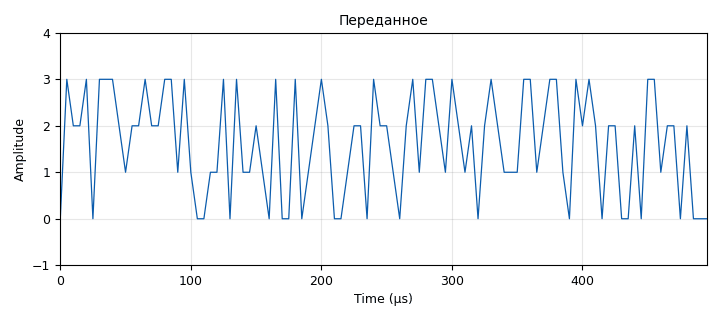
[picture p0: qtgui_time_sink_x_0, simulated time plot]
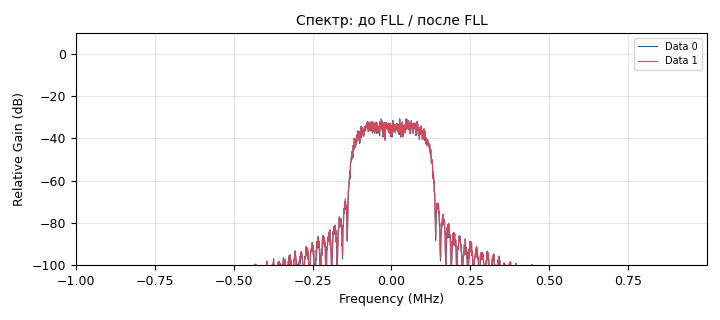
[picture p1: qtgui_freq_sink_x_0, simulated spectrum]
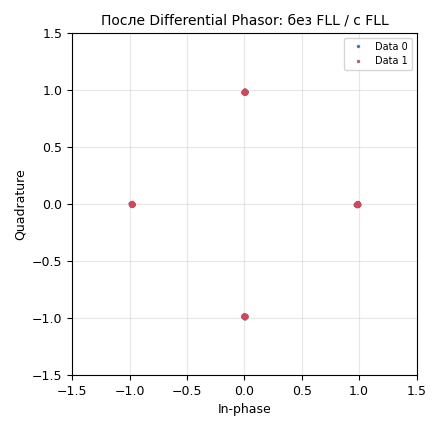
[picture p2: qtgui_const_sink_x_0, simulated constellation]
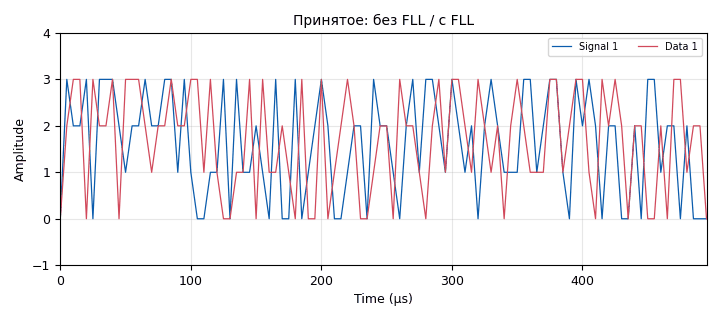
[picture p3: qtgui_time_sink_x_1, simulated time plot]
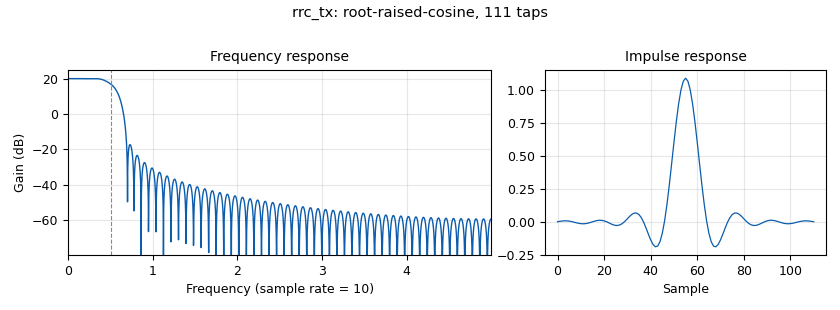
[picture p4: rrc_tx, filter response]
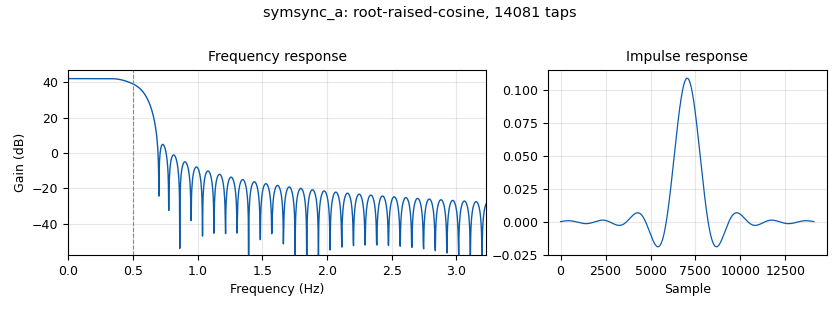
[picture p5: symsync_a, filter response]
options:
  parameters:
    author: Lab5
    generate_options: qt_gui
    id: lab5_1_9_1_dqpsk_fll
    output_language: python
    title: 'ЛР5 п.1.9.1  DQPSK: без АПЧ / с FLL Band-Edge'
  states: {}

blocks:
- name: samp_rate
  id: variable
  parameters:
    value: 2e6
  states: {}
- name: sps
  id: variable
  parameters:
    value: '10'
  states: {}
- name: alpha
  id: variable
  parameters:
    value: '0.35'
  states: {}
- name: Rs
  id: variable
  parameters:
    value: samp_rate/sps
  states: {}
- name: dqpsk
  id: variable_constellation
  parameters:
    sym_map: '[0, 1, 2, 3]'
    const_points: '[1, 1j, -1, -1j]'
    rot_sym: '4'
    dims: '1'
    normalization: digital.constellation.AMPLITUDE_NORMALIZATION
    precision: '8'
    type: calcdist
  states: {}
- name: n
  id: variable_qtgui_range
  parameters:
    value: '0'
    start: '0'
    stop: '1000'
    step: '1'
    label: '"Noise Voltage, мВ"'
  states: {}
- name: f
  id: variable_qtgui_range
  parameters:
    value: '0'
    start: '-50000.0'
    stop: '50000.0'
    step: '100'
    label: '"Расстройка частоты, Гц"'
  states: {}
- name: src
  id: analog_random_uniform_source_x
  parameters:
    seed: '0'
    type: byte
    minimum: '0'
    maximum: '4'
  states: {}
- name: blocks_throttle2_0
  id: blocks_throttle2
  parameters:
    samples_per_second: Rs
    type: byte
  states: {}
- name: diff_enc
  id: digital_diff_encoder_bb
  parameters:
    coding: digital.DIFF_DIFFERENTIAL
    modulus: '4'
  states: {}
- name: chunks2sym
  id: digital_chunks_to_symbols_xx
  parameters:
    dimension: '1'
    in_type: byte
    out_type: complex
    symbol_table: '[0.707+0.707j, -0.707+0.707j, -0.707-0.707j, 0.707-0.707j]'
  states: {}
- name: rrc_tx
  id: interp_fir_filter_xxx
  parameters:
    interp: sps
    type: ccf
    taps: firdes.root_raised_cosine(sps, sps, 1.0, alpha, 11*sps)
  states: {}
- name: channel
  id: channels_channel_model
  parameters:
    noise_voltage: n*1e-3
    freq_offset: f/samp_rate
    epsilon: '1.0'
    taps: '1.0'
    seed: '0'
  states: {}
- name: vsink
  id: virtual_sink
  parameters:
    stream_id: dqpsk
  states: {}
- name: blocks_uchar_to_float_0
  id: blocks_uchar_to_float
  parameters: {}
  states: {}
- name: qtgui_time_sink_x_0
  id: qtgui_time_sink_x
  parameters:
    type: float
    name: '"Переданное"'
    size: '100'
    srate: Rs
    grid: 'True'
    ymax: '4'
    tr_slope: qtgui.TRIG_MODE_POS
  states: {}
- name: vsrc
  id: virtual_source
  parameters:
    stream_id: dqpsk
  states: {}
- name: fll
  id: digital_fll_band_edge_cc
  parameters:
    type: cc
    samps_per_sym: sps
    rolloff: alpha
    filter_size: '44'
    w: '0.00628'
  states: {}
- name: qtgui_freq_sink_x_0
  id: qtgui_freq_sink_x
  parameters:
    type: complex
    name: '"Спектр: до FLL / после FLL"'
    fftsize: '4096'
    fc: '0'
    bw: samp_rate
    grid: 'True'
    average: '0.1'
    ymin: '-100'
    nconnections: '2'
  states: {}
- name: qtgui_const_sink_x_0
  id: qtgui_const_sink_x
  parameters:
    type: complex
    name: '"После Differential Phasor: без FLL / с FLL"'
    size: '1024'
    grid: 'True'
    ymin: '-1.5'
    ymax: '1.5'
    xmin: '-1.5'
    xmax: '1.5'
    nconnections: '2'
    tr_slope: qtgui.TRIG_MODE_POS
  states: {}
- name: qtgui_time_sink_x_1
  id: qtgui_time_sink_x
  parameters:
    type: float
    name: '"Принятое: без FLL / с FLL"'
    size: '100'
    srate: Rs
    grid: 'True'
    ymax: '4'
    nconnections: '2'
    tr_slope: qtgui.TRIG_MODE_POS
  states: {}
- name: symsync_a
  id: digital_symbol_sync_xx
  parameters:
    constellation: digital.constellation_qpsk().base()
    sps: sps
    ted_gain: '1.0'
    loop_bw: '0.045'
    damping: '1.0'
    max_dev: '1.5'
    osps: '1'
    nfilters: '128'
    pfb_mf_taps: firdes.root_raised_cosine(128, 128*sps, 1.0, alpha, 11*sps*128)
    type: cc
    ted_type: digital.TED_GARDNER
    resamp_type: digital.IR_PFB_MF
  states: {}
- name: diffphasor_a
  id: digital_diff_phasor_cc
  parameters: {}
  states: {}
- name: decoder_a
  id: digital_constellation_decoder_cb
  parameters:
    constellation: dqpsk
  states: {}
- name: blocks_uchar_to_float_1
  id: blocks_uchar_to_float
  parameters: {}
  states: {}
- name: symsync_b
  id: digital_symbol_sync_xx
  parameters:
    constellation: digital.constellation_qpsk().base()
    sps: sps
    ted_gain: '1.0'
    loop_bw: '0.045'
    damping: '1.0'
    max_dev: '1.5'
    osps: '1'
    nfilters: '128'
    pfb_mf_taps: firdes.root_raised_cosine(128, 128*sps, 1.0, alpha, 11*sps*128)
    type: cc
    ted_type: digital.TED_GARDNER
    resamp_type: digital.IR_PFB_MF
  states: {}
- name: diffphasor_b
  id: digital_diff_phasor_cc
  parameters: {}
  states: {}
- name: decoder_b
  id: digital_constellation_decoder_cb
  parameters:
    constellation: dqpsk
  states: {}
- name: blocks_uchar_to_float_2
  id: blocks_uchar_to_float
  parameters: {}
  states: {}

connections:
- [src, '0', blocks_throttle2_0, '0']
- [blocks_throttle2_0, '0', diff_enc, '0']
- [diff_enc, '0', chunks2sym, '0']
- [chunks2sym, '0', rrc_tx, '0']
- [rrc_tx, '0', channel, '0']
- [channel, '0', vsink, '0']
- [blocks_throttle2_0, '0', blocks_uchar_to_float_0, '0']
- [blocks_uchar_to_float_0, '0', qtgui_time_sink_x_0, '0']
- [vsrc, '0', fll, '0']
- [vsrc, '0', qtgui_freq_sink_x_0, '0']
- [fll, '0', qtgui_freq_sink_x_0, '1']
- [vsrc, '0', symsync_a, '0']
- [symsync_a, '0', diffphasor_a, '0']
- [diffphasor_a, '0', qtgui_const_sink_x_0, '0']
- [diffphasor_a, '0', decoder_a, '0']
- [decoder_a, '0', blocks_uchar_to_float_1, '0']
- [blocks_uchar_to_float_1, '0', qtgui_time_sink_x_1, '0']
- [fll, '0', symsync_b, '0']
- [symsync_b, '0', diffphasor_b, '0']
- [diffphasor_b, '0', qtgui_const_sink_x_0, '1']
- [diffphasor_b, '0', decoder_b, '0']
- [decoder_b, '0', blocks_uchar_to_float_2, '0']
- [blocks_uchar_to_float_2, '0', qtgui_time_sink_x_1, '1']

metadata:
  file_format: 1
  grc_version: 3.10.12.0
